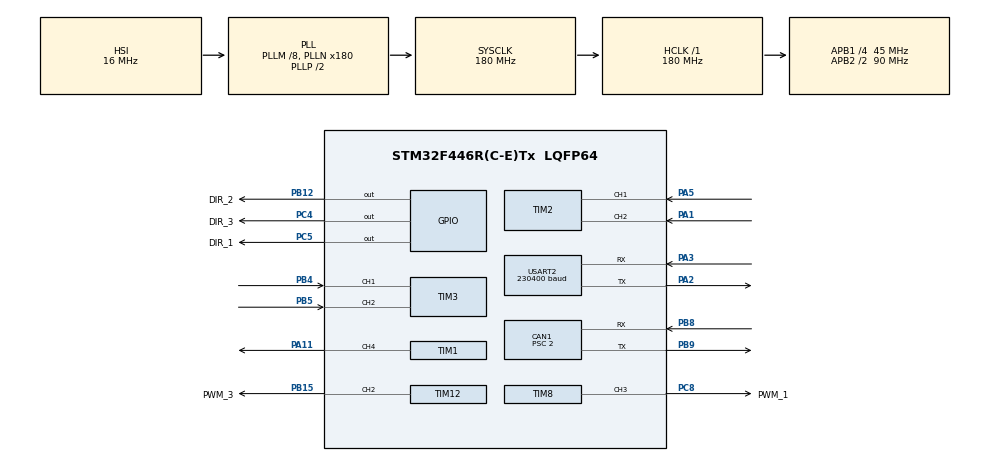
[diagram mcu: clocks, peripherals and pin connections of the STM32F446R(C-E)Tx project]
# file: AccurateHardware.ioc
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CAN1.BS1=CAN_BS1_14TQ
CAN1.BS2=CAN_BS2_8TQ
CAN1.CalculateBaudRate=978260
CAN1.CalculateTimeBit=1022
CAN1.CalculateTimeQuantum=44.44444444444444
CAN1.Prescaler=2
Mcu.Family=STM32F4
Mcu.Name=STM32F446R(C-E)Tx
Mcu.Package=LQFP64
NVIC.CAN1_RX0_IRQn=true\:0\:0\:false\:false\:true\:true\:true\:true
NVIC.PriorityGroup=NVIC_PRIORITYGROUP_0
NVIC.USART2_IRQn=true\:0\:1\:false\:false\:true\:true\:true\:true
PA1.GPIO_Speed=GPIO_SPEED_FREQ_VERY_HIGH
PA1.Signal=S_TIM2_CH2
PA11.Signal=S_TIM1_CH4
PA13.GPIO_Label=TMS
PA13.Mode=Serial_Wire
PA13.Signal=SYS_JTMS-SWDIO
PA14.GPIO_Label=TCK
PA14.Mode=Serial_Wire
PA14.Signal=SYS_JTCK-SWCLK
PA2.Mode=Asynchronous
PA2.Signal=USART2_TX
PA3.Mode=Asynchronous
PA3.Signal=USART2_RX
PA5.GPIO_Speed=GPIO_SPEED_FREQ_VERY_HIGH
PA5.Signal=S_TIM2_CH1_ETR
PB12.GPIO_Label=DIR_2
PB12.Signal=GPIO_Output
PB15.GPIO_Label=PWM_3
PB15.Signal=S_TIM12_CH2
PB3.GPIO_Label=SWO
PB3.Signal=SYS_JTDO-SWO
PB4.Signal=S_TIM3_CH1
PB5.Signal=S_TIM3_CH2
PB8.Mode=CAN_Activate
PB8.Signal=CAN1_RX
PB9.Mode=CAN_Activate
PB9.Signal=CAN1_TX
PC14-OSC32_IN.Mode=LSE-External-Oscillator
PC14-OSC32_IN.Signal=RCC_OSC32_IN
PC15-OSC32_OUT.Mode=LSE-External-Oscillator
PC15-OSC32_OUT.Signal=RCC_OSC32_OUT
PC4.GPIO_Label=DIR_3
PC4.Signal=GPIO_Output
PC5.GPIO_Label=DIR_1
PC5.Signal=GPIO_Output
PC8.GPIO_Label=PWM_1
PC8.Signal=S_TIM8_CH3
PH0-OSC_IN.Mode=HSE-External-Oscillator
PH0-OSC_IN.Signal=RCC_OSC_IN
PH1-OSC_OUT.Mode=HSE-External-Oscillator
PH1-OSC_OUT.Signal=RCC_OSC_OUT
ProjectManager.HeapSize=0x200
ProjectManager.StackSize=0x400
ProjectManager.TargetToolchain=STM32CubeIDE
RCC.48MHZClocksFreq_Value=84000000
RCC.AHBFreq_Value=180000000
RCC.APB1CLKDivider=RCC_HCLK_DIV4
RCC.APB1Freq_Value=45000000
RCC.APB1TimFreq_Value=90000000
RCC.APB2CLKDivider=RCC_HCLK_DIV2
RCC.APB2Freq_Value=90000000
RCC.APB2TimFreq_Value=180000000
RCC.CortexFreq_Value=180000000
RCC.FLatency-AdvancedSettings=FLASH_LATENCY_5
RCC.HCLKFreq_Value=180000000
RCC.HSE_VALUE=8000000
RCC.HSI_VALUE=16000000
RCC.PLLM=8
RCC.PLLN=180
RCC.SYSCLKFreq_VALUE=180000000
RCC.SYSCLKSource=RCC_SYSCLKSOURCE_PLLCLK
RCC.USBFreq_Value=180000000
RCC.VCOOutputFreq_Value=360000000
SH.S_TIM12_CH2.0=TIM12_CH2,PWM Generation2 CH2
SH.S_TIM1_CH4.0=TIM1_CH4,PWM Generation4 CH4
SH.S_TIM2_CH1_ETR.0=TIM2_CH1,Encoder_Interface
SH.S_TIM2_CH2.0=TIM2_CH2,Encoder_Interface
SH.S_TIM3_CH1.0=TIM3_CH1,Encoder_Interface
SH.S_TIM3_CH2.0=TIM3_CH2,Encoder_Interface
SH.S_TIM8_CH3.0=TIM8_CH3,PWM Generation3 CH3
TIM1.Channel-PWM\ Generation4\ CH4=TIM_CHANNEL_4
TIM1.CounterMode=TIM_COUNTERMODE_UP
TIM1.Period=999
TIM1.Prescaler=89
TIM12.Channel-PWM\ Generation2\ CH2=TIM_CHANNEL_2
TIM12.Period=999
TIM12.Prescaler=44
TIM3.EncoderMode=TIM_ENCODERMODE_TI12
TIM8.Channel-PWM\ Generation3\ CH3=TIM_CHANNEL_3
TIM8.Period=999
TIM8.Prescaler=89
USART2.BaudRate=230400
USART2.VirtualMode=VM_ASYNC
VP_TIM1_VS_ClockSourceINT.Mode=Internal
VP_TIM8_VS_ClockSourceINT.Mode=Internal
board=NUCLEO-F446RE

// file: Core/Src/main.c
/* USER CODE BEGIN Header */
/**
  ******************************************************************************
  * @file           : main.c
  * @brief          : Main program body
  ******************************************************************************
  * @attention
  *
  * Copyright (c) 2025 STMicroelectronics.
  * All rights reserved.
  *
  * This software is licensed under terms that can be found in the LICENSE file
  * in the root directory of this software component.
  * If no LICENSE file comes with this software, it is provided AS-IS.
  *
  ******************************************************************************
  */
/* USER CODE END Header */
#include "main.h"

/* USER CODE BEGIN Includes */
#include <stdio.h>
#include <stdlib.h>
#include <string.h>
#include "can_utils.h"
#include "robomaster_utils.h"
#include "pid_utils.h"
#include "string_utils.h"
/* USER CODE END Includes */

/* USER CODE BEGIN PD */
volatile int val1 = 0;
volatile int val2 = 0;
RoboMasterFeedBack fb;
RoboMasterCmd tx_packet;
uint8_t serial_buffer[64];
int last_encoder_2 = 0;
int last_encoder_3 = 0;
/* USER CODE END PD */

CAN_HandleTypeDef hcan1;

TIM_HandleTypeDef htim1;
TIM_HandleTypeDef htim2;
TIM_HandleTypeDef htim3;
TIM_HandleTypeDef htim8;
TIM_HandleTypeDef htim12;

UART_HandleTypeDef huart2;

void SystemClock_Config(void);
static void MX_GPIO_Init(void);
static void MX_CAN1_Init(void);
static void MX_TIM3_Init(void);
static void MX_TIM2_Init(void);
static void MX_TIM1_Init(void);
static void MX_TIM8_Init(void);
static void MX_TIM12_Init(void);
static void MX_USART2_UART_Init(void);

/* USER CODE BEGIN 0 */
int _write(int file, char *ptr, int len)
{
  HAL_UART_Transmit(&huart2,(uint8_t *)ptr,len,1000);
  return len;
}
void HAL_CAN_RxFifo0MsgPendingCallback(CAN_HandleTypeDef *hcan);
void motor_1_control(int pow);
void motor_2_control(int pow);
void motor_3_control(int pow);
int get_encoder_1();
int get_encoder_2();
/* USER CODE END 0 */

int main(void)
{

  /* MCU Configuration--------------------------------------------------------*/

  /* Reset of all peripherals, Initializes the Flash interface and the Systick. */
  HAL_Init();

  /* USER CODE BEGIN Init */
  setbuf(stdout, NULL);
  /* USER CODE END Init */

  /* Configure the system clock */
  SystemClock_Config();

  /* Initialize all configured peripherals */
  MX_GPIO_Init();
  MX_CAN1_Init();
  MX_TIM3_Init();
  MX_TIM2_Init();
  MX_TIM1_Init();
  MX_TIM8_Init();
  MX_TIM12_Init();
  MX_USART2_UART_Init();
  /* USER CODE BEGIN 2 */
  HAL_TIM_Encoder_Start(&htim3, TIM_CHANNEL_ALL);
  HAL_TIM_Encoder_Start(&htim2, TIM_CHANNEL_ALL);
  HAL_TIM_PWM_Start(&htim8, TIM_CHANNEL_3);
  HAL_TIM_PWM_Start(&htim1, TIM_CHANNEL_4);
  HAL_TIM_PWM_Start(&htim12, TIM_CHANNEL_2);
  HAL_CAN_Start(&hcan1);
  HAL_CAN_ActivateNotification(&hcan1, CAN_IT_RX_FIFO0_MSG_PENDING);
  PID pid_1 = pidInitialize(1.0, 0.03, 0.1);
  PID pid_2 = pidInitialize(1.0, 0.03, 0.1);
  PID pid_3 = pidInitialize(1.0, 0.03, 0.1);
  int index = 0;
  Recv prev;
  prev.arm_1 = 0;
  prev.arm_2 = 0;
  prev.arm_3 = 0;
  TIM2->CNT = 32767;
  TIM3->CNT = 32767;

  /* USER CODE END 2 */

  /* Infinite loop */
  /* USER CODE BEGIN WHILE */
  while (1)
  {
	  if(HAL_UART_Receive(&huart2, &serial_buffer[index], 1, 1000) == HAL_OK)
		{
			if(serial_buffer[index] == '\n')
			{
				Recv recv_packet;
				recv_packet.pwm_1 = serial_buffer[0] - 127;
				recv_packet.pwm_1 = recv_packet.pwm_1 * 2;
				recv_packet.pwm_2 = serial_buffer[1] - 127;
				recv_packet.pwm_2 = recv_packet.pwm_2 * 2;
				recv_packet.pwm_3 = serial_buffer[2] - 127;
				recv_packet.pwm_3 = recv_packet.pwm_3 * 2;
				float arm_rate = (serial_buffer[3] - 127) / 127.0;
				recv_packet.arm_1 = arm_rate * 500.0;
				arm_rate = (serial_buffer[4] - 127) / 127.0;
				recv_packet.arm_2 = arm_rate * 500.0;
				arm_rate = (serial_buffer[5] - 127) / 127.0;
				recv_packet.arm_3 = arm_rate * 500.0;

				int16_t rpm_1 = recv_packet.arm_1 * 36;
				int16_t out_1 = pidCompute(&pid_1, rpm_1, fb.rpm[0], 0.05, 8000);
				setCurrent(1, ROBOMASTER_M2006, out_1, &tx_packet);

				int16_t rpm_2 = recv_packet.arm_2 * 36;
				int16_t out_2 = pidCompute(&pid_2, rpm_2, fb.rpm[1], 0.05, 8000);
				setCurrent(2, ROBOMASTER_M2006, out_2, &tx_packet);

				int16_t rpm_3 = recv_packet.arm_3 * 36;
				int16_t out_3 = pidCompute(&pid_3, rpm_3, fb.rpm[2], 0.05, 2000);
				setCurrent(3, ROBOMASTER_M2006, out_3, &tx_packet);

				if(abs(recv_packet.pwm_1) > 1000)
				{
					recv_packet.pwm_1 = 0;
				}
				if(abs(recv_packet.pwm_2) > 1000)
				{
					recv_packet.pwm_2 = 0;
				}
				if(abs(recv_packet.pwm_3) > 1000)
				{
					recv_packet.pwm_3 = 0;
				}

				motor_1_control(recv_packet.pwm_1);
				motor_2_control(recv_packet.pwm_2);
				motor_3_control(recv_packet.pwm_3);

				CAN_TX(0x200, tx_packet.buf_1, &hcan1);

				HAL_Delay(50);
//				int encode_1 = (float)(TIM3->CNT - 32767) * 0.043945312;
//				int encode_2 = (float)(TIM2->CNT - last_encoder_2) * 0.043945312;
//				printf("%d,%d,%d,", fb.rpm[0], fb.rpm[1], fb.ampare[2]);
				printf("%d,%d,%d", recv_packet.pwm_1,recv_packet.pwm_2,recv_packet.pwm_3);
				index = 0;
				last_encoder_3 = TIM3->CNT;
				last_encoder_2 = TIM2->CNT;

				prev = recv_packet;
			}
			else
			{
				index++;
			}
		}
    /* USER CODE END WHILE */

  }
}

void SystemClock_Config(void)
{
  RCC_OscInitTypeDef RCC_OscInitStruct = {0};
  RCC_ClkInitTypeDef RCC_ClkInitStruct = {0};

  /** Configure the main internal regulator output voltage
  */
  __HAL_RCC_PWR_CLK_ENABLE();
  __HAL_PWR_VOLTAGESCALING_CONFIG(PWR_REGULATOR_VOLTAGE_SCALE1);

  /** Initializes the RCC Oscillators according to the specified parameters
  * in the RCC_OscInitTypeDef structure.
  */
  RCC_OscInitStruct.OscillatorType = RCC_OSCILLATORTYPE_HSI;
  RCC_OscInitStruct.HSIState = RCC_HSI_ON;
  RCC_OscInitStruct.HSICalibrationValue = RCC_HSICALIBRATION_DEFAULT;
  RCC_OscInitStruct.PLL.PLLState = RCC_PLL_ON;
  RCC_OscInitStruct.PLL.PLLSource = RCC_PLLSOURCE_HSI;
  RCC_OscInitStruct.PLL.PLLM = 8;
  RCC_OscInitStruct.PLL.PLLN = 180;
  RCC_OscInitStruct.PLL.PLLP = RCC_PLLP_DIV2;
  RCC_OscInitStruct.PLL.PLLQ = 2;
  RCC_OscInitStruct.PLL.PLLR = 2;
  if (HAL_RCC_OscConfig(&RCC_OscInitStruct) != HAL_OK)
  {
    Error_Handler();
  }

  /** Activate the Over-Drive mode
  */
  if (HAL_PWREx_EnableOverDrive() != HAL_OK)
  {
    Error_Handler();
  }

  /** Initializes the CPU, AHB and APB buses clocks
  */
  RCC_ClkInitStruct.ClockType = RCC_CLOCKTYPE_HCLK|RCC_CLOCKTYPE_SYSCLK
                              |RCC_CLOCKTYPE_PCLK1|RCC_CLOCKTYPE_PCLK2;
  RCC_ClkInitStruct.SYSCLKSource = RCC_SYSCLKSOURCE_PLLCLK;
  RCC_ClkInitStruct.AHBCLKDivider = RCC_SYSCLK_DIV1;
  RCC_ClkInitStruct.APB1CLKDivider = RCC_HCLK_DIV4;
  RCC_ClkInitStruct.APB2CLKDivider = RCC_HCLK_DIV2;

  if (HAL_RCC_ClockConfig(&RCC_ClkInitStruct, FLASH_LATENCY_5) != HAL_OK)
  {
    Error_Handler();
  }
}

static void MX_CAN1_Init(void)
{

  hcan1.Instance = CAN1;
  hcan1.Init.Prescaler = 2;
  hcan1.Init.Mode = CAN_MODE_NORMAL;
  hcan1.Init.SyncJumpWidth = CAN_SJW_1TQ;
  hcan1.Init.TimeSeg1 = CAN_BS1_14TQ;
  hcan1.Init.TimeSeg2 = CAN_BS2_8TQ;
  hcan1.Init.TimeTriggeredMode = DISABLE;
  hcan1.Init.AutoBusOff = DISABLE;
  hcan1.Init.AutoWakeUp = DISABLE;
  hcan1.Init.AutoRetransmission = DISABLE;
  hcan1.Init.ReceiveFifoLocked = DISABLE;
  hcan1.Init.TransmitFifoPriority = DISABLE;
  if (HAL_CAN_Init(&hcan1) != HAL_OK)
  {
    Error_Handler();
  }
  /* USER CODE BEGIN CAN1_Init 2 */
  	  CAN_FilterTypeDef filter;
	 filter.FilterIdHigh         = 0x201 << 5;                  // フィルターID1
	 filter.FilterIdLow          = 0x202 << 5;                  // フィルターID2
	 filter.FilterMaskIdHigh     = 0x203 << 5;                  // フィルターID3
	 filter.FilterMaskIdLow      = 0x204 << 5;    // フィルターID4
	 filter.FilterScale          = CAN_FILTERSCALE_16BIT; // 16モード
	 filter.FilterFIFOAssignment = CAN_FILTER_FIFO0;      // FIFO0へ格納
	 filter.FilterBank           = 0;
	 filter.FilterMode           = CAN_FILTERMODE_IDLIST; // IDリストモード
	 filter.SlaveStartFilterBank = 14;
	 filter.FilterActivation     = ENABLE;

	  HAL_CAN_ConfigFilter(&hcan1, &filter);

  /* USER CODE END CAN1_Init 2 */

}

static void MX_TIM1_Init(void)
{

  TIM_ClockConfigTypeDef sClockSourceConfig = {0};
  TIM_MasterConfigTypeDef sMasterConfig = {0};
  TIM_OC_InitTypeDef sConfigOC = {0};
  TIM_BreakDeadTimeConfigTypeDef sBreakDeadTimeConfig = {0};

  htim1.Instance = TIM1;
  htim1.Init.Prescaler = 89;
  htim1.Init.CounterMode = TIM_COUNTERMODE_UP;
  htim1.Init.Period = 999;
  htim1.Init.ClockDivision = TIM_CLOCKDIVISION_DIV1;
  htim1.Init.RepetitionCounter = 0;
  htim1.Init.AutoReloadPreload = TIM_AUTORELOAD_PRELOAD_DISABLE;
  if (HAL_TIM_Base_Init(&htim1) != HAL_OK)
  {
    Error_Handler();
  }
  sClockSourceConfig.ClockSource = TIM_CLOCKSOURCE_INTERNAL;
  if (HAL_TIM_ConfigClockSource(&htim1, &sClockSourceConfig) != HAL_OK)
  {
    Error_Handler();
  }
  if (HAL_TIM_PWM_Init(&htim1) != HAL_OK)
  {
    Error_Handler();
  }
  sMasterConfig.MasterOutputTrigger = TIM_TRGO_RESET;
  sMasterConfig.MasterSlaveMode = TIM_MASTERSLAVEMODE_DISABLE;
  if (HAL_TIMEx_MasterConfigSynchronization(&htim1, &sMasterConfig) != HAL_OK)
  {
    Error_Handler();
  }
  sConfigOC.OCMode = TIM_OCMODE_PWM1;
  sConfigOC.Pulse = 0;
  sConfigOC.OCPolarity = TIM_OCPOLARITY_HIGH;
  sConfigOC.OCFastMode = TIM_OCFAST_DISABLE;
  sConfigOC.OCIdleState = TIM_OCIDLESTATE_RESET;
  sConfigOC.OCNIdleState = TIM_OCNIDLESTATE_RESET;
  if (HAL_TIM_PWM_ConfigChannel(&htim1, &sConfigOC, TIM_CHANNEL_4) != HAL_OK)
  {
    Error_Handler();
  }
  sBreakDeadTimeConfig.OffStateRunMode = TIM_OSSR_DISABLE;
  sBreakDeadTimeConfig.OffStateIDLEMode = TIM_OSSI_DISABLE;
  sBreakDeadTimeConfig.LockLevel = TIM_LOCKLEVEL_OFF;
  sBreakDeadTimeConfig.DeadTime = 0;
  sBreakDeadTimeConfig.BreakState = TIM_BREAK_DISABLE;
  sBreakDeadTimeConfig.BreakPolarity = TIM_BREAKPOLARITY_HIGH;
  sBreakDeadTimeConfig.AutomaticOutput = TIM_AUTOMATICOUTPUT_DISABLE;
  if (HAL_TIMEx_ConfigBreakDeadTime(&htim1, &sBreakDeadTimeConfig) != HAL_OK)
  {
    Error_Handler();
  }
  HAL_TIM_MspPostInit(&htim1);

}

static void MX_TIM2_Init(void)
{

  TIM_Encoder_InitTypeDef sConfig = {0};
  TIM_MasterConfigTypeDef sMasterConfig = {0};

  htim2.Instance = TIM2;
  htim2.Init.Prescaler = 0;
  htim2.Init.CounterMode = TIM_COUNTERMODE_UP;
  htim2.Init.Period = 65535;
  htim2.Init.ClockDivision = TIM_CLOCKDIVISION_DIV1;
  htim2.Init.AutoReloadPreload = TIM_AUTORELOAD_PRELOAD_DISABLE;
  sConfig.EncoderMode = TIM_ENCODERMODE_TI12;
  sConfig.IC1Polarity = TIM_ICPOLARITY_RISING;
  sConfig.IC1Selection = TIM_ICSELECTION_DIRECTTI;
  sConfig.IC1Prescaler = TIM_ICPSC_DIV1;
  sConfig.IC1Filter = 0;
  sConfig.IC2Polarity = TIM_ICPOLARITY_RISING;
  sConfig.IC2Selection = TIM_ICSELECTION_DIRECTTI;
  sConfig.IC2Prescaler = TIM_ICPSC_DIV1;
  sConfig.IC2Filter = 0;
  if (HAL_TIM_Encoder_Init(&htim2, &sConfig) != HAL_OK)
  {
    Error_Handler();
  }
  sMasterConfig.MasterOutputTrigger = TIM_TRGO_RESET;
  sMasterConfig.MasterSlaveMode = TIM_MASTERSLAVEMODE_DISABLE;
  if (HAL_TIMEx_MasterConfigSynchronization(&htim2, &sMasterConfig) != HAL_OK)
  {
    Error_Handler();
  }

}

static void MX_TIM3_Init(void)
{

  TIM_Encoder_InitTypeDef sConfig = {0};
  TIM_MasterConfigTypeDef sMasterConfig = {0};

  htim3.Instance = TIM3;
  htim3.Init.Prescaler = 0;
  htim3.Init.CounterMode = TIM_COUNTERMODE_UP;
  htim3.Init.Period = 65535;
  htim3.Init.ClockDivision = TIM_CLOCKDIVISION_DIV1;
  htim3.Init.AutoReloadPreload = TIM_AUTORELOAD_PRELOAD_DISABLE;
  sConfig.EncoderMode = TIM_ENCODERMODE_TI12;
  sConfig.IC1Polarity = TIM_ICPOLARITY_RISING;
  sConfig.IC1Selection = TIM_ICSELECTION_DIRECTTI;
  sConfig.IC1Prescaler = TIM_ICPSC_DIV1;
  sConfig.IC1Filter = 0;
  sConfig.IC2Polarity = TIM_ICPOLARITY_RISING;
  sConfig.IC2Selection = TIM_ICSELECTION_DIRECTTI;
  sConfig.IC2Prescaler = TIM_ICPSC_DIV1;
  sConfig.IC2Filter = 0;
  if (HAL_TIM_Encoder_Init(&htim3, &sConfig) != HAL_OK)
  {
    Error_Handler();
  }
  sMasterConfig.MasterOutputTrigger = TIM_TRGO_RESET;
  sMasterConfig.MasterSlaveMode = TIM_MASTERSLAVEMODE_DISABLE;
  if (HAL_TIMEx_MasterConfigSynchronization(&htim3, &sMasterConfig) != HAL_OK)
  {
    Error_Handler();
  }

}

static void MX_TIM8_Init(void)
{

  TIM_ClockConfigTypeDef sClockSourceConfig = {0};
  TIM_MasterConfigTypeDef sMasterConfig = {0};
  TIM_OC_InitTypeDef sConfigOC = {0};
  TIM_BreakDeadTimeConfigTypeDef sBreakDeadTimeConfig = {0};

  htim8.Instance = TIM8;
  htim8.Init.Prescaler = 89;
  htim8.Init.CounterMode = TIM_COUNTERMODE_UP;
  htim8.Init.Period = 999;
  htim8.Init.ClockDivision = TIM_CLOCKDIVISION_DIV1;
  htim8.Init.RepetitionCounter = 0;
  htim8.Init.AutoReloadPreload = TIM_AUTORELOAD_PRELOAD_DISABLE;
  if (HAL_TIM_Base_Init(&htim8) != HAL_OK)
  {
    Error_Handler();
  }
  sClockSourceConfig.ClockSource = TIM_CLOCKSOURCE_INTERNAL;
  if (HAL_TIM_ConfigClockSource(&htim8, &sClockSourceConfig) != HAL_OK)
  {
    Error_Handler();
  }
  if (HAL_TIM_PWM_Init(&htim8) != HAL_OK)
  {
    Error_Handler();
  }
  sMasterConfig.MasterOutputTrigger = TIM_TRGO_RESET;
  sMasterConfig.MasterSlaveMode = TIM_MASTERSLAVEMODE_DISABLE;
  if (HAL_TIMEx_MasterConfigSynchronization(&htim8, &sMasterConfig) != HAL_OK)
  {
    Error_Handler();
  }
  sConfigOC.OCMode = TIM_OCMODE_PWM1;
  sConfigOC.Pulse = 0;
  sConfigOC.OCPolarity = TIM_OCPOLARITY_HIGH;
  sConfigOC.OCNPolarity = TIM_OCNPOLARITY_HIGH;
  sConfigOC.OCFastMode = TIM_OCFAST_DISABLE;
  sConfigOC.OCIdleState = TIM_OCIDLESTATE_RESET;
  sConfigOC.OCNIdleState = TIM_OCNIDLESTATE_RESET;
  if (HAL_TIM_PWM_ConfigChannel(&htim8, &sConfigOC, TIM_CHANNEL_3) != HAL_OK)
  {
    Error_Handler();
  }
  sBreakDeadTimeConfig.OffStateRunMode = TIM_OSSR_DISABLE;
  sBreakDeadTimeConfig.OffStateIDLEMode = TIM_OSSI_DISABLE;
  sBreakDeadTimeConfig.LockLevel = TIM_LOCKLEVEL_OFF;
  sBreakDeadTimeConfig.DeadTime = 0;
  sBreakDeadTimeConfig.BreakState = TIM_BREAK_DISABLE;
  sBreakDeadTimeConfig.BreakPolarity = TIM_BREAKPOLARITY_HIGH;
  sBreakDeadTimeConfig.AutomaticOutput = TIM_AUTOMATICOUTPUT_DISABLE;
  if (HAL_TIMEx_ConfigBreakDeadTime(&htim8, &sBreakDeadTimeConfig) != HAL_OK)
  {
    Error_Handler();
  }
  HAL_TIM_MspPostInit(&htim8);

}

static void MX_TIM12_Init(void)
{

  TIM_OC_InitTypeDef sConfigOC = {0};

  htim12.Instance = TIM12;
  htim12.Init.Prescaler = 44;
  htim12.Init.CounterMode = TIM_COUNTERMODE_UP;
  htim12.Init.Period = 999;
  htim12.Init.ClockDivision = TIM_CLOCKDIVISION_DIV1;
  htim12.Init.AutoReloadPreload = TIM_AUTORELOAD_PRELOAD_DISABLE;
  if (HAL_TIM_PWM_Init(&htim12) != HAL_OK)
  {
    Error_Handler();
  }
  sConfigOC.OCMode = TIM_OCMODE_PWM1;
  sConfigOC.Pulse = 0;
  sConfigOC.OCPolarity = TIM_OCPOLARITY_HIGH;
  sConfigOC.OCFastMode = TIM_OCFAST_DISABLE;
  if (HAL_TIM_PWM_ConfigChannel(&htim12, &sConfigOC, TIM_CHANNEL_2) != HAL_OK)
  {
    Error_Handler();
  }
  HAL_TIM_MspPostInit(&htim12);

}

static void MX_USART2_UART_Init(void)
{

  huart2.Instance = USART2;
  huart2.Init.BaudRate = 230400;
  huart2.Init.WordLength = UART_WORDLENGTH_8B;
  huart2.Init.StopBits = UART_STOPBITS_1;
  huart2.Init.Parity = UART_PARITY_NONE;
  huart2.Init.Mode = UART_MODE_TX_RX;
  huart2.Init.HwFlowCtl = UART_HWCONTROL_NONE;
  huart2.Init.OverSampling = UART_OVERSAMPLING_16;
  if (HAL_UART_Init(&huart2) != HAL_OK)
  {
    Error_Handler();
  }

}

static void MX_GPIO_Init(void)
{
  GPIO_InitTypeDef GPIO_InitStruct = {0};

  /* GPIO Ports Clock Enable */
  __HAL_RCC_GPIOC_CLK_ENABLE();
  __HAL_RCC_GPIOH_CLK_ENABLE();
  __HAL_RCC_GPIOA_CLK_ENABLE();
  __HAL_RCC_GPIOB_CLK_ENABLE();

  /*Configure GPIO pin Output Level */
  HAL_GPIO_WritePin(GPIOC, DIR_3_Pin|DIR_1_Pin, GPIO_PIN_RESET);

  /*Configure GPIO pin Output Level */
  HAL_GPIO_WritePin(DIR_2_GPIO_Port, DIR_2_Pin, GPIO_PIN_RESET);

  /*Configure GPIO pins : DIR_3_Pin DIR_1_Pin */
  GPIO_InitStruct.Pin = DIR_3_Pin|DIR_1_Pin;
  GPIO_InitStruct.Mode = GPIO_MODE_OUTPUT_PP;
  GPIO_InitStruct.Pull = GPIO_NOPULL;
  GPIO_InitStruct.Speed = GPIO_SPEED_FREQ_LOW;
  HAL_GPIO_Init(GPIOC, &GPIO_InitStruct);

  /*Configure GPIO pin : DIR_2_Pin */
  GPIO_InitStruct.Pin = DIR_2_Pin;
  GPIO_InitStruct.Mode = GPIO_MODE_OUTPUT_PP;
  GPIO_InitStruct.Pull = GPIO_NOPULL;
  GPIO_InitStruct.Speed = GPIO_SPEED_FREQ_LOW;
  HAL_GPIO_Init(DIR_2_GPIO_Port, &GPIO_InitStruct);

}

/* USER CODE BEGIN 4 */
void HAL_CAN_RxFifo0MsgPendingCallback(CAN_HandleTypeDef *hcan)
{
	// 受信した際に送信元の情報とかが入る
	CAN_RxHeaderTypeDef RxHeader;

	//　受信したCANのデーターを格納する配列
	uint8_t RxData[8];

	// HAL_OKならRxDataに情報が入る。
	if (HAL_CAN_GetRxMessage(&hcan1, CAN_RX_FIFO0, &RxHeader, RxData)== HAL_OK) {

		// モーターのIDが１番なら0x201が来るので関数で扱うため0x200を引くと1になる
		uint32_t id = RxHeader.StdId - 0x200;

		// parseRoboMasterFeedBack(モーターID、受信内容、RoboMasterFeedBack構造体ポインタ)
		//受信内容の中から各エンコーダ値を取り出す。
		parseRoboMasterFeedBack(id, RxData, &fb);
	}
}
void motor_1_control(int pow)
{
	if(pow > 0)
	{
		__HAL_TIM_SET_COMPARE(&htim8, TIM_CHANNEL_3, pow);
		HAL_GPIO_WritePin(GPIOC, DIR_1_Pin, GPIO_PIN_RESET);
	}
	else if(pow < 0)
	{
		__HAL_TIM_SET_COMPARE(&htim8, TIM_CHANNEL_3, abs(pow));
		HAL_GPIO_WritePin(GPIOC, DIR_1_Pin, GPIO_PIN_SET);
	}
	else
	{
		__HAL_TIM_SET_COMPARE(&htim8, TIM_CHANNEL_3, 0);
		HAL_GPIO_WritePin(GPIOC, DIR_1_Pin, GPIO_PIN_RESET);
	}
}

void motor_2_control(int pow)
{
	if(pow > 0)
	{
		__HAL_TIM_SET_COMPARE(&htim1, TIM_CHANNEL_4, pow);
		HAL_GPIO_WritePin(GPIOB, DIR_2_Pin, GPIO_PIN_RESET);
	}
	else if(pow < 0)
	{
		__HAL_TIM_SET_COMPARE(&htim1, TIM_CHANNEL_4, abs(pow));
		HAL_GPIO_WritePin(GPIOB, DIR_2_Pin, GPIO_PIN_SET);
	}
	else
	{
		__HAL_TIM_SET_COMPARE(&htim1, TIM_CHANNEL_4, 0);
		HAL_GPIO_WritePin(GPIOB, DIR_2_Pin, GPIO_PIN_RESET);
	}
}

void motor_3_control(int pow)
{
	if(pow > 0)
	{
		__HAL_TIM_SET_COMPARE(&htim12, TIM_CHANNEL_2, pow);
		HAL_GPIO_WritePin(GPIOC, DIR_3_Pin, GPIO_PIN_RESET);
	}
	else if(pow < 0)
	{
		__HAL_TIM_SET_COMPARE(&htim12, TIM_CHANNEL_2, abs(pow));
		HAL_GPIO_WritePin(GPIOC, DIR_3_Pin, GPIO_PIN_SET);
	}
	else
	{
		__HAL_TIM_SET_COMPARE(&htim12, TIM_CHANNEL_2, 0);
		HAL_GPIO_WritePin(GPIOC, DIR_3_Pin, GPIO_PIN_RESET);
	}
}

int get_encoder_1()
{
	val1 = (float)(TIM3->CNT - 32767) * 0.043945312;

	return val1;
}

int get_encoder_2()
{
	val2 = (float)(TIM2->CNT- 32767) * 0.043945312;

	return val2;
}
/* USER CODE END 4 */

void Error_Handler(void)
{
  /* USER CODE BEGIN Error_Handler_Debug */
  /* User can add his own implementation to report the HAL error return state */
  __disable_irq();
  while (1)
  {
  printf("ERR");
  }
  /* USER CODE END Error_Handler_Debug */
}
